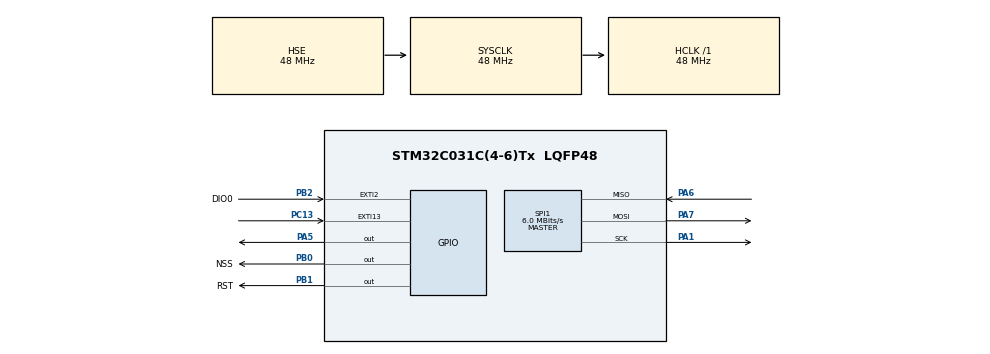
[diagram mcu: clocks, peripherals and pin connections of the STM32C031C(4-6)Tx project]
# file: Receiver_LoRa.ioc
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Mcu.Family=STM32C0
Mcu.Name=STM32C031C(4-6)Tx
Mcu.Package=LQFP48
NUCLEO-C031C6.BUTTON=1
NUCLEO-C031C6.LD4=true
NUCLEO-C031C6.VCP=true
NVIC.EXTI4_15_IRQn=true\:0\:0\:false\:false\:true\:true\:true\:true
PA1.Mode=Full_Duplex_Master
PA1.Signal=SPI1_SCK
PA13.Signal=DEBUG_SWDIO
PA14-BOOT0.Signal=DEBUG_SWCLK
PA2.Signal=USART2_TX
PA3.Signal=USART2_RX
PA5.Signal=GPIO_Output
PA6.Mode=Full_Duplex_Master
PA6.Signal=SPI1_MISO
PA7.Mode=Full_Duplex_Master
PA7.Signal=SPI1_MOSI
PB0.GPIO_Label=NSS
PB0.PinState=GPIO_PIN_SET
PB0.Signal=GPIO_Output
PB1.GPIO_Label=RST
PB1.PinState=GPIO_PIN_SET
PB1.Signal=GPIO_Output
PB2.GPIO_Label=DIO0
PB2.Signal=GPXTI2
PB8.Signal=I2C1_SCL
PB9.Signal=I2C1_SDA
PC13.Signal=GPXTI13
PC14-OSCX_IN\ (PC14).Mode=LSE-External-Oscillator
PC14-OSCX_IN\ (PC14).Signal=RCC_OSCX_IN
PC15-OSCX_OUT\ (PC15).Mode=LSE-External-Oscillator
PC15-OSCX_OUT\ (PC15).Signal=RCC_OSCX_OUT
PF0-OSC_IN\ (PF0).Mode=HSE-External-Oscillator
PF0-OSC_IN\ (PF0).Signal=RCC_OSC_IN
PF1-OSC_OUT\ (PF1).Mode=HSE-External-Oscillator
PF1-OSC_OUT\ (PF1).Signal=RCC_OSC_OUT
ProjectManager.HeapSize=0x200
ProjectManager.StackSize=0x400
ProjectManager.TargetToolchain=STM32CubeIDE
RCC.ADCFreq_Value=48000000
RCC.AHBFreq_Value=48000000
RCC.CortexFreq_Value=48000000
RCC.EXTERNAL_CLOCK_VALUE=12288000
RCC.HCLKFreq_Value=48000000
RCC.HSE_VALUE=48000000
RCC.HSISYSCLKDivider=RCC_HSI_DIV1
RCC.HSI_VALUE=48000000
RCC.SYSCLKFreq_VALUE=48000000
RCC.SYSCLKSource=RCC_SYSCLKSOURCE_HSE
SPI1.BaudRatePrescaler=SPI_BAUDRATEPRESCALER_8
SPI1.CalculateBaudRate=6.0 MBits/s
SPI1.Direction=SPI_DIRECTION_2LINES
SPI1.Mode=SPI_MODE_MASTER
SPI1.VirtualType=VM_MASTER
VP_NUCLEO-C031C6_VS_BSP_COMMON.Mode=COMMON
board=NUCLEO-C031C6

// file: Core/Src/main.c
/* USER CODE BEGIN Header */
/**
  ******************************************************************************
  * @file           : main.c
  * @brief          : Main program body
  ******************************************************************************
  * @attention
  *
  * Copyright (c) 2024 STMicroelectronics.
  * All rights reserved.
  *
  * This software is licensed under terms that can be found in the LICENSE file
  * in the root directory of this software component.
  * If no LICENSE file comes with this software, it is provided AS-IS.
  *
  ******************************************************************************
  */
/* USER CODE END Header */
#include "main.h"
#include "spi.h"
#include "gpio.h"
/* USER CODE BEGIN Includes */
#include "LoRa.h"
/* USER CODE END Includes */

COM_InitTypeDef BspCOMInit;

/* USER CODE BEGIN PV */
LoRa myLoRa;
/* USER CODE END PV */

void SystemClock_Config(void);

int main(void)
{

  /* USER CODE BEGIN 1 */
myLoRa = newLoRa();

myLoRa.CS_port         = NSS_GPIO_Port;
myLoRa.CS_pin          = NSS_Pin;
myLoRa.reset_port      = RESET_GPIO_Port;
myLoRa.reset_pin       = RESET_Pin;
myLoRa.DIO0_port       = DIO0_GPIO_Port;
myLoRa.DIO0_pin        = DIO0_Pin;
myLoRa.hSPIx           = &hspi3;

LoRa_reset(&myLoRa);
	uint16_t LoRa_status = LoRa_init(&myLoRa);
    LoRa_startReceiving(&myLoRa);

  /* USER CODE END 1 */

  /* MCU Configuration--------------------------------------------------------*/

  /* Reset of all peripherals, Initializes the Flash interface and the Systick. */
  HAL_Init();

  /* Configure the system clock */
  SystemClock_Config();

  /* Initialize all configured peripherals */
  MX_GPIO_Init();
  MX_SPI1_Init();

  /* Initialize leds */
  BSP_LED_Init(LED_GREEN);

  /* Initialize USER push-button, will be used to trigger an interrupt each time it's pressed.*/
  BSP_PB_Init(BUTTON_USER, BUTTON_MODE_EXTI);

  /* Initialize COM1 port (115200, 8 bits (7-bit data + 1 stop bit), no parity */
  BspCOMInit.BaudRate   = 115200;
  BspCOMInit.WordLength = COM_WORDLENGTH_8B;
  BspCOMInit.StopBits   = COM_STOPBITS_1;
  BspCOMInit.Parity     = COM_PARITY_NONE;
  BspCOMInit.HwFlowCtl  = COM_HWCONTROL_NONE;
  if (BSP_COM_Init(COM1, &BspCOMInit) != BSP_ERROR_NONE)
  {
    Error_Handler();
  }

  /* Infinite loop */
  /* USER CODE BEGIN WHILE */
  while (1)
  {
	  if(LoRa_status == LORA_OK){
		  LoRa_receive(&myLoRa, read_data, 128);
		  //Verificando a potencia do sinal
		  LoRa_getRSSI(LoRa* myLoRa);
	  }

    /* USER CODE END WHILE */

  }
}

void SystemClock_Config(void)
{
  RCC_OscInitTypeDef RCC_OscInitStruct = {0};
  RCC_ClkInitTypeDef RCC_ClkInitStruct = {0};

  /** Initializes the RCC Oscillators according to the specified parameters
  * in the RCC_OscInitTypeDef structure.
  */
  RCC_OscInitStruct.OscillatorType = RCC_OSCILLATORTYPE_HSE;
  RCC_OscInitStruct.HSEState = RCC_HSE_ON;
  if (HAL_RCC_OscConfig(&RCC_OscInitStruct) != HAL_OK)
  {
    Error_Handler();
  }

  /** Initializes the CPU, AHB and APB buses clocks
  */
  RCC_ClkInitStruct.ClockType = RCC_CLOCKTYPE_HCLK|RCC_CLOCKTYPE_SYSCLK
                              |RCC_CLOCKTYPE_PCLK1;
  RCC_ClkInitStruct.SYSCLKSource = RCC_SYSCLKSOURCE_HSE;
  RCC_ClkInitStruct.SYSCLKDivider = RCC_SYSCLK_DIV1;
  RCC_ClkInitStruct.AHBCLKDivider = RCC_HCLK_DIV1;
  RCC_ClkInitStruct.APB1CLKDivider = RCC_APB1_DIV1;

  if (HAL_RCC_ClockConfig(&RCC_ClkInitStruct, FLASH_LATENCY_1) != HAL_OK)
  {
    Error_Handler();
  }
}

void Error_Handler(void)
{
  __disable_irq();
  while (1)
  {
  }
}
